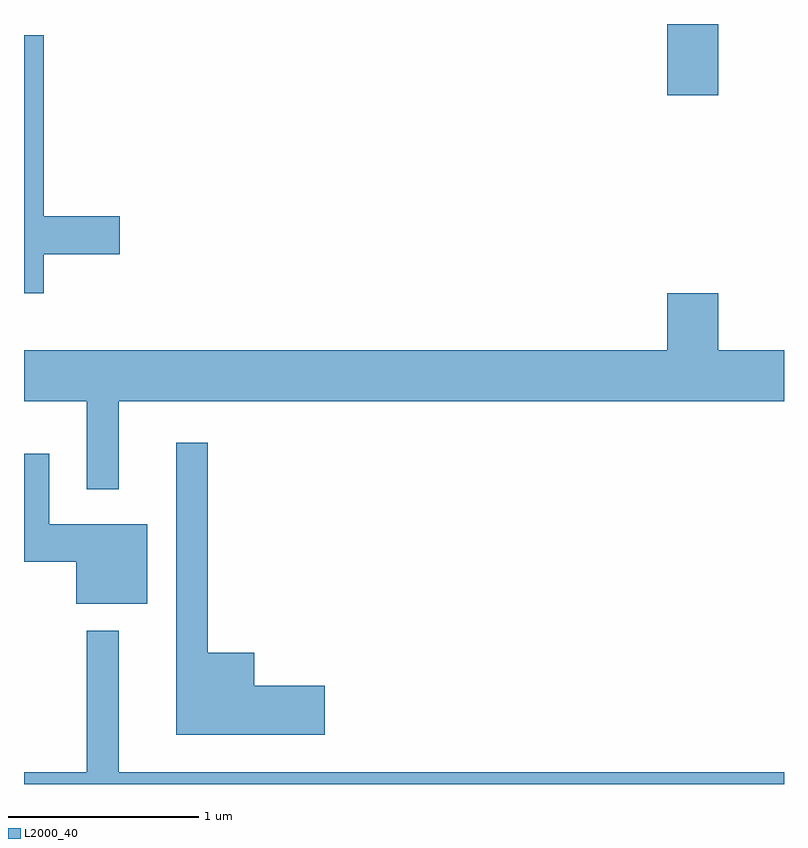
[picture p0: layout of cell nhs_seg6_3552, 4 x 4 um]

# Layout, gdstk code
import gdstk
lib = gdstk.Library(unit=1e-6, precision=1e-09)
def R(c, l, rs):  # rectangles x0, y0, x1, y1
    for r in rs: c.add(gdstk.rectangle(r[:2], r[2:], *l))
def P(c, l, *ps):  # polygons
    for p in ps: c.add(gdstk.Polygon(p, *l))
L2000_40 = (2000, 40)

nhs_seg6_3552 = lib.new_cell('nhs_seg6_3552')
R(nhs_seg6_3552, L2000_40, [(294.996,1633.786,295.264,1634.162)])
P(nhs_seg6_3552, L2000_40, [(291.714,1632.951),(292.114,1632.951),(292.114,1633.149),(291.714,1633.149),(291.714,1634.104),(291.611,1634.104),(291.611,1632.746),(291.714,1632.746)],
  [(292.109,1632.176),(295.611,1632.176),(295.611,1632.444),(295.264,1632.444),(295.264,1632.744),(294.996,1632.744),(294.996,1632.444),(291.611,1632.444),(291.611,1632.176),(291.941,1632.176),(291.941,1631.713),(292.109,1631.713)],
  [(293.194,1630.679),(292.824,1630.679),(292.824,1630.854),(292.579,1630.854),(292.579,1631.958),(292.411,1631.958),(292.411,1630.421),(293.194,1630.421)],
  [(292.259,1631.529),(291.744,1631.529),(291.744,1631.899),(291.611,1631.899),(291.611,1631.331),(291.886,1631.331),(291.886,1631.111),(292.259,1631.111)],
  [(295.611,1630.224),(292.109,1630.224),(292.109,1630.968),(291.941,1630.968),(291.941,1630.224),(291.611,1630.224),(291.611,1630.162),(295.611,1630.162)])

lib.write_gds('nhs_seg6_3552.gds')
